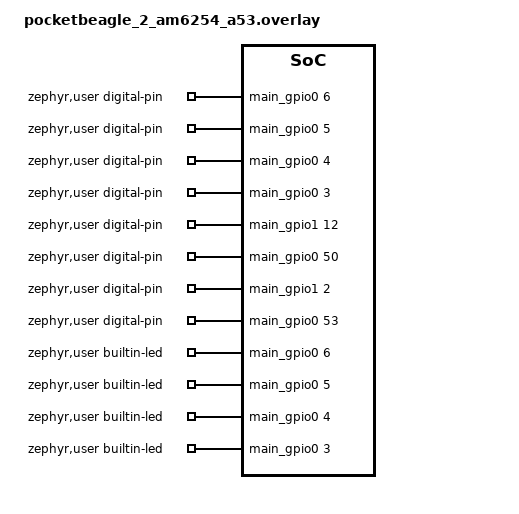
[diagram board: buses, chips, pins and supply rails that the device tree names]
/*
 * Copyright (c) 2025 Ayush Singh <ayush@beagleboard.org>
 *
 * SPDX-License-Identifier: Apache-2.0
 */

/ {
	zephyr,user {
		digital-pin-gpios = 
			<&main_gpio0 6 GPIO_ACTIVE_HIGH>, /* D0 - LED 1 */
			<&main_gpio0 5 GPIO_ACTIVE_HIGH>, /* D1 - LED 2 */
			<&main_gpio0 4 GPIO_ACTIVE_HIGH>, /* D2 - LED 3 */
			<&main_gpio0 3 GPIO_ACTIVE_HIGH>, /* D3 - LED 4 */
			<&main_gpio1 12 GPIO_ACTIVE_HIGH>, /* D4 - P1.04 */
			<&main_gpio0 50 GPIO_ACTIVE_HIGH>, /* D5 - P1.20 */
			<&main_gpio1 2 GPIO_ACTIVE_HIGH>, /* D6 - P1.34 */
			<&main_gpio0 53 GPIO_ACTIVE_HIGH>, /* D7 - P2.18 */
			<&main_gpio0 49 GPIO_ACTIVE_HIGH>, /* D8 - P2.20 */
			<&main_gpio0 63 GPIO_ACTIVE_HIGH>, /* D9 - P2.22 */
			<&main_gpio0 51 GPIO_ACTIVE_HIGH>, /* D10 - P2.24 */
			<&main_gpio0 52 GPIO_ACTIVE_HIGH>; /* D11 - P2.33 */

		builtin-led-gpios = 
			<&main_gpio0 6 GPIO_ACTIVE_HIGH>, /* LED 1 */
			<&main_gpio0 5 GPIO_ACTIVE_HIGH>, /* LED 2 */
			<&main_gpio0 4 GPIO_ACTIVE_HIGH>, /* LED 3 */
			<&main_gpio0 3 GPIO_ACTIVE_HIGH>; /* LED 4 */

		serials = <&main_uart0 &main_uart5>;
		i2cs = <&main_i2c2 &main_i2c3>;
	};
};
